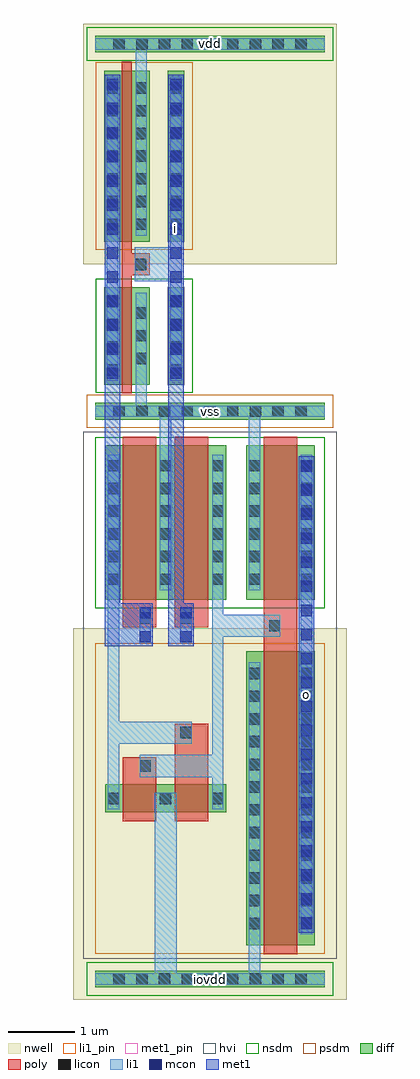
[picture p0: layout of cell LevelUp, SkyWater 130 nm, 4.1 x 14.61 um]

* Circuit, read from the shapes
.subckt LevelUp i iovdd o vdd vss
XM1 vss i n1 VSUBS sky130_fd_pr__nfet_01v8 w=1.46 l=0.15
XM2 vss n1 n2 VSUBS sky130_fd_pr__nfet_g5v0d10v5 w=2.31 l=0.5
XM3 n3 i vss VSUBS sky130_fd_pr__nfet_g5v0d10v5 w=2.31 l=0.5
XM4 o n3 vss VSUBS sky130_fd_pr__nfet_g5v0d10v5 w=2.31 l=0.5
XM5 vdd i n1 n4 sky130_fd_pr__pfet_01v8 w=2.56 l=0.15
XM6 iovdd n3 n2 n5 sky130_fd_pr__pfet_g5v0d10v5 w=0.42 l=0.5
XM7 n3 n2 iovdd n5 sky130_fd_pr__pfet_g5v0d10v5 w=0.42 l=0.5
XM8 o n3 iovdd n5 sky130_fd_pr__pfet_g5v0d10v5 w=4.4 l=0.5
.ends

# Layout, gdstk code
import gdstk
lib = gdstk.Library(unit=1e-6, precision=1e-09)
def R(c, l, rs):  # rectangles x0, y0, x1, y1
    for r in rs: c.add(gdstk.rectangle(r[:2], r[2:], *l))
def A(c, l, x, y, w, h, nx, ny, dx, dy):  # array of equal rectangles
    R(c, l, [(x+i*dx, y+j*dy, x+i*dx+w, y+j*dy+h) for i in range(nx) for j in range(ny)])
def P(c, l, *ps):  # polygons
    for p in ps: c.add(gdstk.Polygon(p, *l))
nwell = (64, 20)
diff = (65, 20)
poly = (66, 20)
licon = (66, 44)
li1_pin = (67, 16)
li1 = (67, 20)
mcon = (67, 44)
met1_pin = (68, 16)
met1 = (68, 20)
hvi = (75, 20)
nsdm = (93, 44)
psdm = (94, 20)

levelup = lib.new_cell('LevelUp')
R(levelup, nwell, [(-0.33,-0.305,3.77,5.25), (-0.18,10.7,3.62,14.305)])
R(levelup, diff, [(0,-0.125,3.44,0.125), (2.26,0.505,3.29,4.905), (0.15,2.495,1.96,2.915), (0.15,5.68,1.18,7.99), (1.09,5.68,1.8,7.99), (1.71,5.68,1.96,7.99), (2.26,5.68,3.29,7.99), (0,8.375,3.44,8.625), (0.135,8.9,0.815,10.36), (1.085,8.9,1.335,10.36), (0.135,11.04,0.815,13.6), (1.085,11.04,1.335,13.6), (0,13.875,3.44,14.125)])
R(levelup, poly, [(2.525,0.375,3.025,8.12), (0.415,2.365,0.915,3.325), (0.415,2.365,0.915,3.045), (1.195,2.365,1.695,3.825), (1.195,3.555,1.525,3.825), (0.415,5.27,0.915,8.12), (0.585,5.27,0.915,5.54), (1.195,5.27,1.525,5.54), (1.195,5.27,1.695,8.12), (0.415,5.55,0.915,8.12), (1.195,5.55,1.695,8.12)])
P(levelup, poly, [(0.4,8.77),(0.4,13.73),(0.55,13.73),(0.55,10.865),(0.815,10.865),(0.815,10.535),(0.55,10.535),(0.55,8.77)])
A(levelup, licon, 0.275, -0.085, 0.17, 0.17, 9, 2, 0.34, 8.5)
A(levelup, licon, 2.3, 0.75, 0.17, 0.17, 1, 12, 0, 0.34)
A(levelup, licon, 3.08, 0.75, 0.17, 0.17, 1, 12, 0, 0.34)
A(levelup, licon, 0.19, 2.62, 0.17, 0.17, 3, 2, 0.78, 3.28)
A(levelup, licon, 2.3, 5.9, 0.17, 0.17, 1, 6, 0, 0.34)
A(levelup, licon, 3.08, 5.9, 0.17, 0.17, 1, 6, 0, 0.34)
A(levelup, licon, 0.19, 6.24, 0.17, 0.17, 3, 5, 0.78, 0.34)
A(levelup, licon, 0.175, 9.035, 0.17, 0.17, 1, 4, 0, 0.34)
A(levelup, licon, 1.125, 9.035, 0.17, 0.17, 1, 4, 0, 0.34)
A(levelup, licon, 0.605, 9.205, 0.17, 0.17, 1, 3, 0, 0.34)
A(levelup, licon, 0.175, 11.215, 0.17, 0.17, 1, 7, 0, 0.34)
A(levelup, licon, 0.605, 11.215, 0.17, 0.17, 1, 7, 0, 0.34)
A(levelup, licon, 1.125, 11.215, 0.17, 0.17, 1, 7, 0, 0.34)
A(levelup, licon, 0.275, 13.915, 0.17, 0.17, 9, 1, 0.34, 0)
R(levelup, licon, [(0.665,3.105,0.835,3.275), (1.275,3.605,1.445,3.775), (2.605,5.205,2.775,5.375), (0.665,5.32,0.835,5.49), (1.275,5.32,1.445,5.49), (0.595,10.615,0.765,10.785)])
R(levelup, li1_pin, [(0,-0.085,3.44,0.085), (0,8.415,3.44,8.585), (0,13.915,3.44,14.085)])
R(levelup, li1, [(3.08,0.67,3.25,7.85), (0.665,3.025,0.835,3.355), (1.275,3.525,1.445,3.855), (0.665,5.04,0.835,5.57), (1.275,5.04,1.445,5.57), (1.275,5.24,1.445,5.57), (0.175,8.955,0.345,13.505)])
P(levelup, li1, [(0.605,11.125),(0.605,13.915),(0,13.915),(0,14.085),(3.44,14.085),(3.44,13.915),(0.775,13.915),(0.775,11.125)],
  [(0.97,5.82),(0.97,8.415),(0,8.415),(0,8.585),(0.605,8.585),(0.605,10.275),(0.775,10.275),(0.775,8.585),(3.44,8.585),(3.44,8.415),(2.47,8.415),(2.47,5.82),(2.3,5.82),(2.3,8.415),(1.14,8.415),(1.14,5.82)],
  [(1.125,8.955),(1.125,10.445),(0.595,10.445),(0.595,10.955),(1.125,10.955),(1.125,13.505),(1.295,13.505),(1.295,8.955)],
  [(0.19,2.54),(0.19,7.85),(0.36,7.85),(0.36,3.855),(1.445,3.855),(1.445,3.525),(0.36,3.525),(0.36,2.54)],
  [(0,-0.085),(0,0.085),(0.89,0.085),(0.89,2.79),(1.22,2.79),(1.22,0.085),(2.3,0.085),(2.3,4.74),(2.47,4.74),(2.47,0.085),(3.44,0.085),(3.44,-0.085)],
  [(1.75,2.54),(1.75,3.025),(0.665,3.025),(0.665,3.355),(1.75,3.355),(1.75,7.85),(1.92,7.85),(1.92,5.455),(2.775,5.455),(2.775,5.125),(1.92,5.125),(1.92,2.54)])
A(levelup, mcon, 3.08, 0.755, 0.17, 0.17, 1, 20, 0, 0.36)
A(levelup, mcon, 0.175, 8.985, 0.17, 0.17, 1, 13, 0, 0.36)
A(levelup, mcon, 1.125, 8.985, 0.17, 0.17, 1, 13, 0, 0.36)
R(levelup, mcon, [(0.665,5.04,0.835,5.21), (1.275,5.04,1.445,5.21), (0.665,5.4,0.835,5.57), (1.275,5.4,1.445,5.57)])
R(levelup, met1_pin, [(3.05,0.695,3.28,7.825), (1.095,8.925,1.325,13.535)])
R(levelup, met1, [(3.05,0.695,3.28,7.825)])
P(levelup, met1, [(0.145,4.98),(0.145,13.535),(0.375,13.535),(0.375,5.63),(0.865,5.63),(0.865,4.98)],
  [(1.095,4.98),(1.095,13.535),(1.325,13.535),(1.325,5.63),(1.475,5.63),(1.475,4.98)])
R(levelup, hvi, [(-0.18,0.305,3.62,8.195)])
R(levelup, nsdm, [(-0.125,-0.25,3.565,0.25), (0,5.555,3.44,8.115), (0.01,8.775,1.46,10.485), (-0.125,13.75,3.565,14.25)])
R(levelup, psdm, [(0,0.38,3.44,5.03), (-0.125,8.25,3.565,8.75), (0.01,10.915,1.46,13.725)])
levelup.add(gdstk.Label('i', (1.21,11.23), layer=68, texttype=16))
levelup.add(gdstk.Label('o', (3.165,4.26), layer=68, texttype=16))
levelup.add(gdstk.Label('vdd', (1.72,14), layer=67, texttype=16))
levelup.add(gdstk.Label('vss', (1.72,8.5), layer=67, texttype=16))
levelup.add(gdstk.Label('iovdd', (1.72,0), layer=67, texttype=16))

lib.write_gds('LevelUp.gds')
